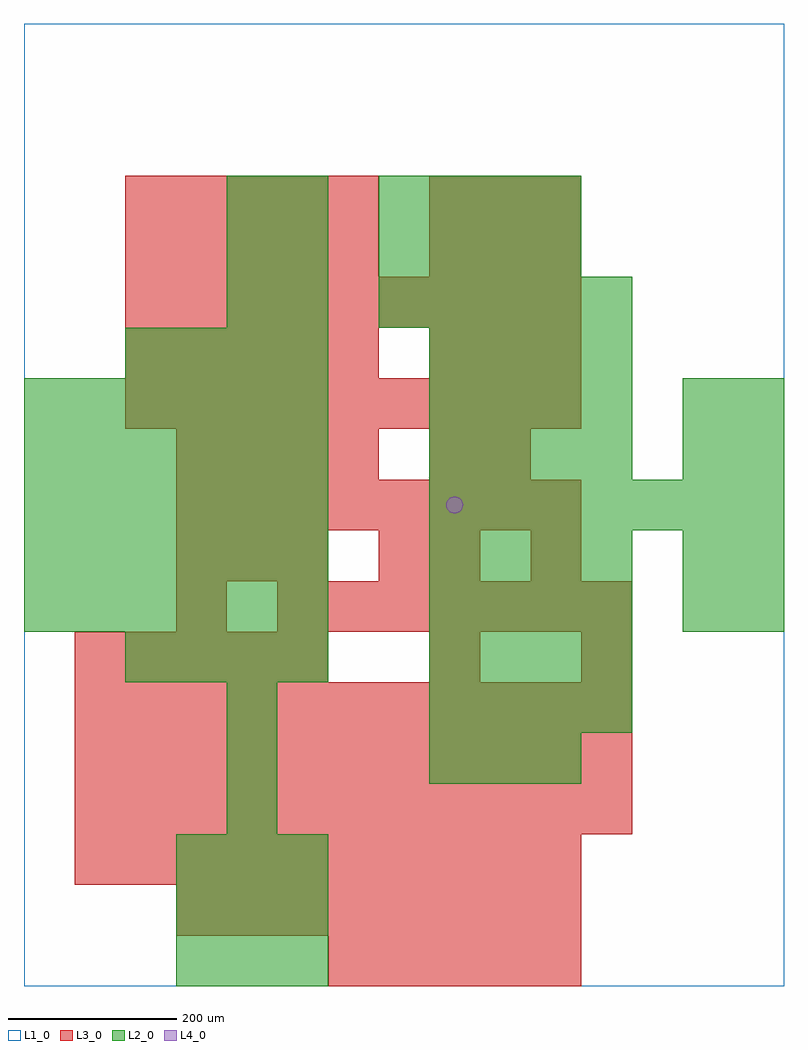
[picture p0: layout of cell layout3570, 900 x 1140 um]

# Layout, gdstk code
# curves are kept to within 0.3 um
import gdstk
lib = gdstk.Library(unit=1e-6, precision=1e-09)
def R(c, l, rs):  # rectangles x0, y0, x1, y1
    for r in rs: c.add(gdstk.rectangle(r[:2], r[2:], *l))
def A(c, l, x, y, w, h, nx, ny, dx, dy):  # array of equal rectangles
    R(c, l, [(x+i*dx, y+j*dy, x+i*dx+w, y+j*dy+h) for i in range(nx) for j in range(ny)])
def P(c, l, *ps):  # polygons
    for p in ps: c.add(gdstk.Polygon(p, *l))
L1_0 = (1, 0)
L2_0 = (2, 0)
L3_0 = (3, 0)
L4_0 = (4, 0)

layout3570 = lib.new_cell('layout3570')
R(layout3570, L1_0, [(0,0,900,1140)])
A(layout3570, L2_0, 180, 0, 60, 60, 3, 3, 60, 60)
A(layout3570, L2_0, 240, 180, 60, 60, 1, 3, 0, 60)
A(layout3570, L2_0, 480, 240, 60, 60, 3, 1, 60, 0)
A(layout3570, L2_0, 480, 300, 60, 60, 4, 4, 60, 60)
A(layout3570, L2_0, 120, 360, 60, 60, 4, 2, 60, 360)
A(layout3570, L2_0, 0, 420, 60, 60, 6, 5, 60, 60)
A(layout3570, L2_0, 480, 540, 60, 60, 7, 1, 60, 0)
A(layout3570, L2_0, 480, 600, 60, 60, 4, 3, 60, 60)
A(layout3570, L2_0, 240, 780, 60, 60, 1, 3, 0, 60)
A(layout3570, L2_0, 300, 780, 60, 60, 1, 3, 0, 60)
A(layout3570, L2_0, 420, 780, 60, 60, 5, 1, 60, 0)
A(layout3570, L2_0, 420, 840, 60, 60, 4, 2, 60, 60)
R(layout3570, L2_0, [(780,420,840,480), (840,420,900,480), (780,480,840,540), (840,480,900,540), (780,600,840,660), (840,600,900,660), (780,660,840,720), (840,660,900,720)])
A(layout3570, L3_0, 360, 0, 60, 60, 5, 1, 60, 0)
A(layout3570, L3_0, 180, 60, 60, 60, 8, 2, 60, 480)
A(layout3570, L3_0, 60, 120, 60, 60, 10, 1, 60, 0)
A(layout3570, L3_0, 60, 180, 60, 60, 11, 3, 60, 60)
A(layout3570, L3_0, 60, 360, 60, 60, 5, 1, 60, 0)
A(layout3570, L3_0, 480, 360, 60, 60, 1, 3, 0, 120)
A(layout3570, L3_0, 300, 420, 60, 60, 7, 1, 60, 0)
A(layout3570, L3_0, 180, 480, 60, 60, 3, 1, 60, 0)
A(layout3570, L3_0, 180, 600, 60, 60, 4, 1, 60, 0)
A(layout3570, L3_0, 120, 660, 60, 60, 9, 2, 60, 120)
A(layout3570, L3_0, 120, 720, 60, 60, 5, 2, 60, 120)
A(layout3570, L3_0, 480, 720, 60, 60, 3, 2, 60, 120)
A(layout3570, L3_0, 120, 900, 60, 60, 5, 1, 60, 0)
A(layout3570, L3_0, 480, 900, 60, 60, 3, 1, 60, 0)
R(layout3570, L3_0, [(660,360,720,420), (180,420,240,480), (420,480,480,540), (600,480,660,540), (540,600,600,660)])
P(layout3570, L4_0, [(520,570),(519.239,573.827),(517.071,577.071),(513.827,579.239),(510,580),(506.173,579.239),(502.929,577.071),(500.761,573.827),(500,570),(500.761,566.173),(502.929,562.929),(506.173,560.761),(510,560),(513.827,560.761),(517.071,562.929),(519.239,566.173)])

lib.write_gds('layout3570.gds')
